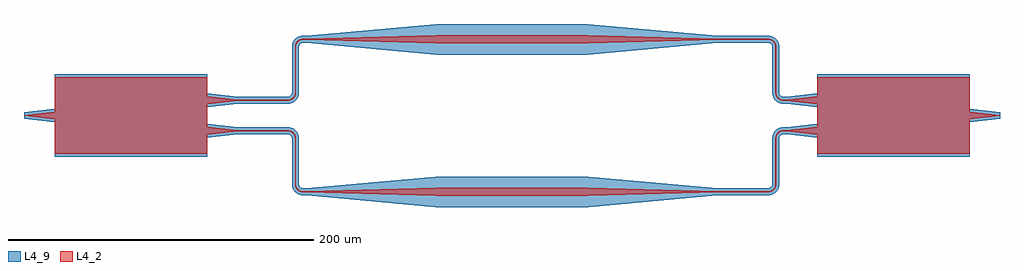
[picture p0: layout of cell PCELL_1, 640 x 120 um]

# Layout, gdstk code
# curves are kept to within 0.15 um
import gdstk
lib = gdstk.Library(unit=1e-6, precision=5e-09)
def R(c, l, rs):  # rectangles x0, y0, x1, y1
    for r in rs: c.add(gdstk.rectangle(r[:2], r[2:], *l))
def P(c, l, *ps):  # polygons
    for p in ps: c.add(gdstk.Polygon(p, *l))
L4_2 = (4, 2)
L4_9 = (4, 9)

mmi_1x2_tapered_1_mmi_mm = lib.new_cell('MMI_1x2_tapered_1_MMI_mmi_trace')
R(mmi_1x2_tapered_1_mmi_mm, L4_2, [(0,-25,100,25)])
P(mmi_1x2_tapered_1_mmi_mm, L4_9, [(0,-27),(100,-27),(100,-25),(100,25),(100,27),(0,27),(0,25),(0,-25)])

mmi_1x2_tapered_1_transi = lib.new_cell('MMI_1x2_tapered_1_TRANSITION1')
P(mmi_1x2_tapered_1_transi, L4_2, [(0,-2.5),(0,2.5),(-20,0.225),(-20,-0.225)])
P(mmi_1x2_tapered_1_transi, L4_9, [(0,-4.5),(0,-2.5),(0,2.5),(0,4.5),(-20,2.225),(-20,0.225),(-20,-0.225),(-20,-2.225)])

c_mmi_1x2_tapered_1_transi = lib.new_cell('MMI_1x2_tapered_1_TRANSITION2')
P(c_mmi_1x2_tapered_1_transi, L4_2, [(100,-7.5),(100,-12.5),(120,-10.225),(120,-9.775)])
P(c_mmi_1x2_tapered_1_transi, L4_9, [(100,-5.5),(100,-7.5),(100,-12.5),(100,-14.5),(120,-12.225),(120,-10.225),(120,-9.775),(120,-7.775)])

c_mmi_1x2_tapered_1_transi_ = lib.new_cell('MMI_1x2_tapered_1_TRANSITION3')
P(c_mmi_1x2_tapered_1_transi_, L4_2, [(100,12.5),(100,7.5),(120,9.775),(120,10.225)])
P(c_mmi_1x2_tapered_1_transi_, L4_9, [(100,14.5),(100,12.5),(100,7.5),(100,5.5),(120,7.775),(120,9.775),(120,10.225),(120,12.225)])

mmi_1x2_tapered_1 = lib.new_cell('MMI_1x2_tapered_1')
mmi_1x2_tapered_1.add(gdstk.Reference(mmi_1x2_tapered_1_mmi_mm, (0,0)))
mmi_1x2_tapered_1.add(gdstk.Reference(mmi_1x2_tapered_1_transi, (0,0)))
mmi_1x2_tapered_1.add(gdstk.Reference(c_mmi_1x2_tapered_1_transi, (0,0)))
mmi_1x2_tapered_1.add(gdstk.Reference(c_mmi_1x2_tapered_1_transi_, (0,0)))

mmi_2x1_tapered_1_mmi_mm = lib.new_cell('MMI_2x1_tapered_1_MMI_mmi_trace')
R(mmi_2x1_tapered_1_mmi_mm, L4_2, [(0,-25,100,25)])
P(mmi_2x1_tapered_1_mmi_mm, L4_9, [(0,-27),(100,-27),(100,-25),(100,25),(100,27),(0,27),(0,25),(0,-25)])

mmi_2x1_tapered_1_transi = lib.new_cell('MMI_2x1_tapered_1_TRANSITION1')
P(mmi_2x1_tapered_1_transi, L4_2, [(0,-12.5),(0,-7.5),(-20,-9.775),(-20,-10.225)])
P(mmi_2x1_tapered_1_transi, L4_9, [(0,-14.5),(0,-12.5),(0,-7.5),(0,-5.5),(-20,-7.775),(-20,-9.775),(-20,-10.225),(-20,-12.225)])

c_mmi_2x1_tapered_1_transi = lib.new_cell('MMI_2x1_tapered_1_TRANSITION2')
P(c_mmi_2x1_tapered_1_transi, L4_2, [(0,7.5),(0,12.5),(-20,10.225),(-20,9.775)])
P(c_mmi_2x1_tapered_1_transi, L4_9, [(0,5.5),(0,7.5),(0,12.5),(0,14.5),(-20,12.225),(-20,10.225),(-20,9.775),(-20,7.775)])

c_mmi_2x1_tapered_1_transi_ = lib.new_cell('MMI_2x1_tapered_1_TRANSITION3')
P(c_mmi_2x1_tapered_1_transi_, L4_2, [(100,2.5),(100,-2.5),(120,-0.225),(120,0.225)])
P(c_mmi_2x1_tapered_1_transi_, L4_9, [(100,4.5),(100,2.5),(100,-2.5),(100,-4.5),(120,-2.225),(120,-0.225),(120,0.225),(120,2.225)])

mmi_2x1_tapered_1 = lib.new_cell('MMI_2x1_tapered_1')
mmi_2x1_tapered_1.add(gdstk.Reference(mmi_2x1_tapered_1_mmi_mm, (0,0)))
mmi_2x1_tapered_1.add(gdstk.Reference(mmi_2x1_tapered_1_transi, (0,0)))
mmi_2x1_tapered_1.add(gdstk.Reference(c_mmi_2x1_tapered_1_transi, (0,0)))
mmi_2x1_tapered_1.add(gdstk.Reference(c_mmi_2x1_tapered_1_transi_, (0,0)))

wg_trace_1 = lib.new_cell('WG_TRACE_1')
R(wg_trace_1, L4_2, [(-50,-2.5,50,2.5)])
P(wg_trace_1, L4_9, [(-50,-10),(50,-10),(50,-2.5),(50,2.5),(50,10),(-50,10),(-50,2.5),(-50,-2.5)])

pcell_1_link1 = lib.new_cell('PCELL_1_link1')
P(pcell_1_link1, L4_2, [(-50,47.5),(-50,52.5),(-135,50.225),(-135,49.775)],
  [(-180,9.775),(-146.73,9.78),(-145.75,9.925),(-144.895,10.215),(-144.18,10.6),(-143.4,11.21),(-142.7,12.03),(-142.215,12.895),(-141.925,13.75),(-141.78,14.73),(-141.775,45.08),(-141.675,45.98),(-141.405,46.845),(-140.93,47.715),(-140.29,48.465),(-139.435,49.11),(-138.615,49.495),(-137.655,49.73),(-135,49.775),(-135,50.225),(-137.72,50.175),(-138.595,49.975),(-139.51,49.585),(-140.33,49.03),(-141.195,48.115),(-141.785,47.105),(-142.095,46.165),(-142.225,45.09),(-142.23,14.755),(-142.405,13.7),(-142.77,12.78),(-143.165,12.155),(-143.77,11.48),(-144.565,10.89),(-145.155,10.595),(-146.02,10.325),(-146.755,10.23),(-180,10.225)])
P(pcell_1_link1, L4_9, [(-50,40),(-50,47.5),(-50,52.5),(-50,60),(-135,52.225),(-135,50.225),(-135,49.775),(-135,47.775)],
  [(-180,7.775),(-146.5,7.79),(-144.09,8.385),(-141.935,9.845),(-140.435,11.98),(-139.79,14.5),(-139.735,45.475),(-139.23,46.655),(-138.205,47.5),(-137.19,47.77),(-135,47.775),(-135,52.225),(-138.24,52.12),(-140.685,51.215),(-142.65,49.505),(-143.455,48.245),(-143.985,46.85),(-144.225,45.125),(-144.225,14.905),(-144.44,13.925),(-145.055,13.02),(-145.925,12.44),(-146.905,12.225),(-180,12.225)])

pcell_1_link2 = lib.new_cell('PCELL_1_link2')
P(pcell_1_link2, L4_2, [(-50,-52.5),(-50,-47.5),(-135,-49.775),(-135,-50.225)],
  [(-180,-10.225),(-146.755,-10.23),(-146.02,-10.325),(-145.155,-10.595),(-144.565,-10.89),(-143.77,-11.48),(-143.265,-12.025),(-142.77,-12.78),(-142.405,-13.7),(-142.23,-14.755),(-142.225,-45.09),(-142.095,-46.165),(-141.785,-47.105),(-141.195,-48.115),(-140.33,-49.03),(-139.51,-49.585),(-138.595,-49.975),(-137.72,-50.175),(-135,-50.225),(-135,-49.775),(-137.655,-49.73),(-138.615,-49.495),(-139.435,-49.11),(-140.29,-48.465),(-140.93,-47.715),(-141.405,-46.845),(-141.675,-45.98),(-141.775,-45.08),(-141.78,-14.73),(-141.925,-13.75),(-142.215,-12.895),(-142.7,-12.03),(-143.4,-11.21),(-144.18,-10.6),(-145.065,-10.145),(-145.925,-9.885),(-146.91,-9.775),(-180,-9.775)])
P(pcell_1_link2, L4_9, [(-50,-60),(-50,-52.5),(-50,-47.5),(-50,-40),(-135,-47.775),(-135,-49.775),(-135,-50.225),(-135,-52.225)],
  [(-180,-12.225),(-146.905,-12.225),(-146.015,-12.405),(-145.195,-12.89),(-144.5,-13.795),(-144.225,-14.905),(-144.225,-45.125),(-143.985,-46.85),(-143.455,-48.245),(-142.65,-49.505),(-140.685,-51.215),(-138.24,-52.12),(-135,-52.225),(-135,-47.775),(-137.19,-47.77),(-138.205,-47.5),(-139.23,-46.655),(-139.735,-45.475),(-139.79,-14.5),(-140.49,-11.865),(-142.21,-9.59),(-144.205,-8.335),(-146.5,-7.79),(-180,-7.775)])

pcell_1_link3 = lib.new_cell('PCELL_1_link3')
P(pcell_1_link3, L4_2, [(50,52.5),(50,47.5),(135,49.775),(135,50.225)],
  [(135,49.775),(168.245,49.77),(168.98,49.675),(169.845,49.405),(170.435,49.11),(171.23,48.52),(171.735,47.975),(172.23,47.22),(172.595,46.3),(172.77,45.245),(172.775,14.91),(172.905,13.835),(173.215,12.895),(173.805,11.885),(174.67,10.97),(175.49,10.415),(176.405,10.025),(177.28,9.825),(180,9.775),(180,10.225),(177.345,10.27),(176.385,10.505),(175.565,10.89),(174.71,11.535),(174.07,12.285),(173.595,13.155),(173.325,14.02),(173.225,14.92),(173.22,45.27),(173.075,46.25),(172.785,47.105),(172.3,47.97),(171.6,48.79),(170.82,49.4),(169.935,49.855),(169.075,50.115),(168.09,50.225),(135,50.225)])
P(pcell_1_link3, L4_9, [(50,60),(50,52.5),(50,47.5),(50,40),(135,47.775),(135,49.775),(135,50.225),(135,52.225)],
  [(135,47.775),(168.095,47.775),(168.985,47.595),(169.805,47.11),(170.5,46.205),(170.775,45.095),(170.775,14.875),(171.015,13.15),(171.545,11.755),(172.35,10.495),(174.315,8.785),(176.76,7.88),(180,7.775),(180,12.225),(177.81,12.23),(176.795,12.5),(175.77,13.345),(175.265,14.525),(175.21,45.5),(174.51,48.135),(172.79,50.41),(170.795,51.665),(168.5,52.21),(135,52.225)])

pcell_1_link4 = lib.new_cell('PCELL_1_link4')
P(pcell_1_link4, L4_2, [(50,-47.5),(50,-52.5),(135,-50.225),(135,-49.775)],
  [(135,-50.225),(168.27,-50.22),(169.25,-50.075),(170.105,-49.785),(170.82,-49.4),(171.6,-48.79),(172.3,-47.97),(172.785,-47.105),(173.075,-46.25),(173.22,-45.27),(173.225,-14.92),(173.325,-14.02),(173.595,-13.155),(174.07,-12.285),(174.71,-11.535),(175.565,-10.89),(176.385,-10.505),(177.345,-10.27),(180,-10.225),(180,-9.775),(177.28,-9.825),(176.405,-10.025),(175.49,-10.415),(174.67,-10.97),(173.805,-11.885),(173.215,-12.895),(172.905,-13.835),(172.775,-14.91),(172.77,-45.245),(172.595,-46.3),(172.23,-47.22),(171.835,-47.845),(171.23,-48.52),(170.435,-49.11),(169.845,-49.405),(168.98,-49.675),(168.245,-49.77),(135,-49.775)])
P(pcell_1_link4, L4_9, [(50,-40),(50,-47.5),(50,-52.5),(50,-60),(135,-52.225),(135,-50.225),(135,-49.775),(135,-47.775)],
  [(135,-52.225),(168.5,-52.21),(170.91,-51.615),(173.065,-50.155),(174.565,-48.02),(175.21,-45.5),(175.265,-14.525),(175.77,-13.345),(176.795,-12.5),(177.81,-12.23),(180,-12.225),(180,-7.775),(176.76,-7.88),(174.315,-8.785),(172.35,-10.495),(171.545,-11.755),(171.015,-13.15),(170.775,-14.875),(170.775,-45.095),(170.56,-46.075),(169.945,-46.98),(169.075,-47.56),(168.095,-47.775),(135,-47.775)])

pcell_1 = lib.new_cell('PCELL_1')
pcell_1.add(gdstk.Reference(mmi_1x2_tapered_1, (-300,0)))
pcell_1.add(gdstk.Reference(mmi_2x1_tapered_1, (200,0)))
pcell_1.add(gdstk.Reference(wg_trace_1, (0,-50)))
pcell_1.add(gdstk.Reference(wg_trace_1, (0,50)))
pcell_1.add(gdstk.Reference(pcell_1_link1, (0,0)))
pcell_1.add(gdstk.Reference(pcell_1_link2, (0,0)))
pcell_1.add(gdstk.Reference(pcell_1_link3, (0,0)))
pcell_1.add(gdstk.Reference(pcell_1_link4, (0,0)))

lib.write_gds('PCELL_1.gds')
